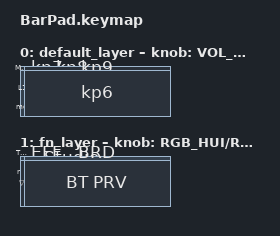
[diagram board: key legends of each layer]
#include <behaviors.dtsi>
#include <dt-bindings/zmk/keys.h>
#include <dt-bindings/zmk/bt.h>
#include <dt-bindings/zmk/rgb.h>
#include <dt-bindings/zmk/studio_unlock.h>

/ {
    keymap {
        compatible = "zmk,keymap";

        default_layer {
            bindings = <
                &kp C_MUTE    &kp KP_N7     &kp KP_N8     &kp KP_N9
                &mo 1         &kp KP_N4     &kp KP_N5     &kp KP_N6
            >;
            sensor-bindings = <&inc_dec_kp C_VOL_DN C_VOL_UP>;
        };

        fn_layer {
            bindings = <
                &rgb_ug RGB_TOG  &rgb_ug RGB_EFF  &studio_unlock   &rgb_ug RGB_BRD
                &trans           &bt BT_CLR       &bt BT_NXT       &bt BT_PRV
            >;
            sensor-bindings = <&inc_dec_kp RGB_HUI RGB_HUD>;
        };
    };
};
